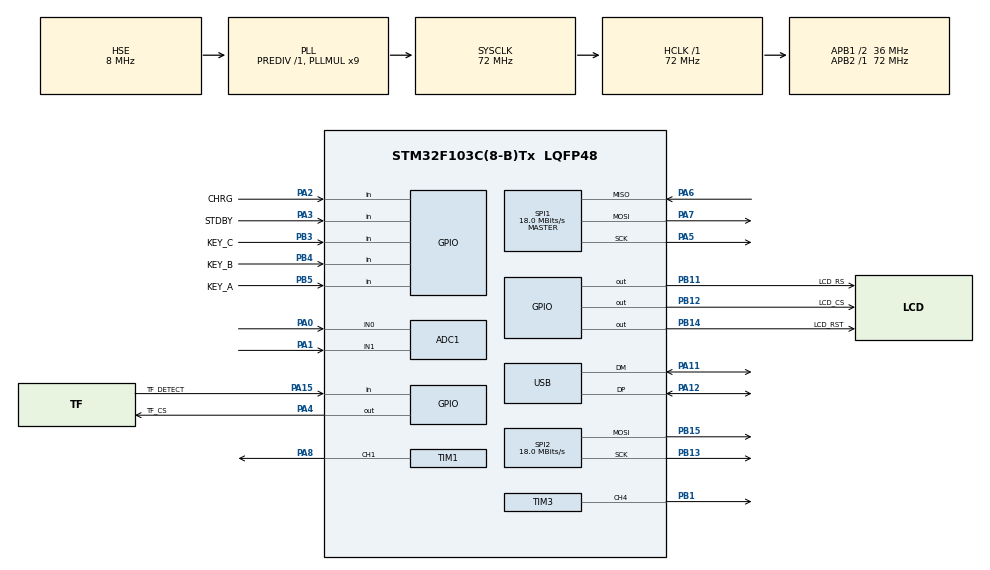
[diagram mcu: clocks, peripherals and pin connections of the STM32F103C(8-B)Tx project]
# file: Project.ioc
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ADC1.Channel-0\#ChannelRegularConversion=ADC_CHANNEL_0
ADC1.NbrOfConversion=1
ADC1.NbrOfConversionFlag=1
ADC1.Rank-0\#ChannelRegularConversion=1
ADC1.SamplingTime-0\#ChannelRegularConversion=ADC_SAMPLETIME_239CYCLES_5
ADC1.master=1
Mcu.Family=STM32F1
Mcu.Name=STM32F103C(8-B)Tx
Mcu.Package=LQFP48
NVIC.PriorityGroup=NVIC_PRIORITYGROUP_4
NVIC.TIM2_IRQn=true\:0\:0\:false\:false\:true\:true\:true\:true
NVIC.USB_LP_CAN1_RX0_IRQn=true\:0\:0\:false\:false\:true\:false\:true\:true
PA0-WKUP.Signal=ADCx_IN0
PA1.Signal=ADCx_IN1
PA11.Mode=Device
PA11.Signal=USB_DM
PA12.Mode=Device
PA12.Signal=USB_DP
PA13.Mode=Serial_Wire
PA13.Signal=SYS_JTMS-SWDIO
PA14.Mode=Serial_Wire
PA14.Signal=SYS_JTCK-SWCLK
PA15.GPIO_Label=TF_DETECT
PA15.GPIO_PuPd=GPIO_PULLUP
PA15.Signal=GPIO_Input
PA2.GPIO_Label=CHRG
PA2.GPIO_PuPd=GPIO_PULLUP
PA2.Signal=GPIO_Input
PA3.GPIO_Label=STDBY
PA3.GPIO_PuPd=GPIO_PULLUP
PA3.Signal=GPIO_Input
PA4.GPIO_Label=TF_CS
PA4.GPIO_ModeDefaultOutputPP=GPIO_MODE_OUTPUT_PP
PA4.GPIO_PuPd=GPIO_NOPULL
PA4.GPIO_Speed=GPIO_SPEED_FREQ_LOW
PA4.PinState=GPIO_PIN_SET
PA4.Signal=GPIO_Output
PA5.Mode=Full_Duplex_Master
PA5.Signal=SPI1_SCK
PA6.Mode=Full_Duplex_Master
PA6.Signal=SPI1_MISO
PA7.Mode=Full_Duplex_Master
PA7.Signal=SPI1_MOSI
PA8.Signal=S_TIM1_CH1
PB1.Signal=S_TIM3_CH4
PB11.GPIO_Label=LCD_RS
PB11.GPIO_ModeDefaultOutputPP=GPIO_MODE_OUTPUT_PP
PB11.GPIO_PuPd=GPIO_NOPULL
PB11.GPIO_Speed=GPIO_SPEED_FREQ_LOW
PB11.PinState=GPIO_PIN_SET
PB11.Signal=GPIO_Output
PB12.GPIO_Label=LCD_CS
PB12.GPIO_ModeDefaultOutputPP=GPIO_MODE_OUTPUT_PP
PB12.GPIO_PuPd=GPIO_NOPULL
PB12.GPIO_Speed=GPIO_SPEED_FREQ_LOW
PB12.PinState=GPIO_PIN_SET
PB12.Signal=GPIO_Output
PB13.Mode=TX_Only_Simplex_Unidirect_Master
PB13.Signal=SPI2_SCK
PB14.GPIO_Label=LCD_RST
PB14.GPIO_ModeDefaultOutputPP=GPIO_MODE_OUTPUT_PP
PB14.GPIO_PuPd=GPIO_NOPULL
PB14.GPIO_Speed=GPIO_SPEED_FREQ_LOW
PB14.PinState=GPIO_PIN_SET
PB14.Signal=GPIO_Output
PB15.Mode=TX_Only_Simplex_Unidirect_Master
PB15.Signal=SPI2_MOSI
PB3.GPIO_Label=KEY_C
PB3.GPIO_Mode=GPIO_MODE_INPUT
PB3.GPIO_PuPd=GPIO_PULLDOWN
PB3.Signal=GPIO_Input
PB4.GPIO_Label=KEY_B
PB4.GPIO_Mode=GPIO_MODE_INPUT
PB4.GPIO_PuPd=GPIO_PULLDOWN
PB4.Signal=GPIO_Input
PB5.GPIO_Label=KEY_A
PB5.GPIO_Mode=GPIO_MODE_INPUT
PB5.GPIO_PuPd=GPIO_PULLDOWN
PB5.Signal=GPIO_Input
PC14-OSC32_IN.Mode=LSE-External-Oscillator
PC14-OSC32_IN.Signal=RCC_OSC32_IN
PC15-OSC32_OUT.Mode=LSE-External-Oscillator
PC15-OSC32_OUT.Signal=RCC_OSC32_OUT
PD0-OSC_IN.Mode=HSE-External-Oscillator
PD0-OSC_IN.Signal=RCC_OSC_IN
PD1-OSC_OUT.Mode=HSE-External-Oscillator
PD1-OSC_OUT.Signal=RCC_OSC_OUT
ProjectManager.HeapSize=0x200
ProjectManager.StackSize=0x400
ProjectManager.TargetToolchain=MDK-ARM V5.32
RCC.ADCPresc=RCC_ADCPCLK2_DIV6
RCC.AHBFreq_Value=72000000
RCC.APB1CLKDivider=RCC_HCLK_DIV2
RCC.APB1Freq_Value=36000000
RCC.APB1TimFreq_Value=72000000
RCC.APB2Freq_Value=72000000
RCC.APB2TimFreq_Value=72000000
RCC.HCLKFreq_Value=72000000
RCC.PLLMUL=RCC_PLL_MUL9
RCC.PLLSourceVirtual=RCC_PLLSOURCE_HSE
RCC.RTCClockSelection=RCC_RTCCLKSOURCE_LSE
RCC.SYSCLKFreq_VALUE=72000000
RCC.SYSCLKSource=RCC_SYSCLKSOURCE_PLLCLK
RCC.USBFreq_Value=48000000
RCC.USBPrescaler=RCC_USBCLKSOURCE_PLL_DIV1_5
RTC.Format=RTC_FORMAT_BIN
RTC.Year=0
SH.ADCx_IN0.0=ADC1_IN0,IN0
SH.ADCx_IN1.0=ADC1_IN1,IN1
SH.S_TIM1_CH1.0=TIM1_CH1,PWM Generation1 CH1
SH.S_TIM3_CH4.0=TIM3_CH4,PWM Generation4 CH4
SPI1.BaudRatePrescaler=SPI_BAUDRATEPRESCALER_4
SPI1.CalculateBaudRate=18.0 MBits/s
SPI1.Direction=SPI_DIRECTION_2LINES
SPI1.Mode=SPI_MODE_MASTER
SPI1.VirtualType=VM_MASTER
SPI2.CLKPhase=SPI_PHASE_2EDGE
SPI2.CLKPolarity=SPI_POLARITY_HIGH
SPI2.CalculateBaudRate=18.0 MBits/s
SPI2.Direction=SPI_DIRECTION_2LINES
SPI2.Mode=SPI_MODE_MASTER
SPI2.VirtualType=VM_MASTER
TIM1.AutoReloadPreload=TIM_AUTORELOAD_PRELOAD_ENABLE
TIM1.Channel-PWM\ Generation1\ CH1=TIM_CHANNEL_1
TIM1.Period=999
TIM1.Prescaler=71
TIM2.AutoReloadPreload=TIM_AUTORELOAD_PRELOAD_ENABLE
TIM2.Period=1000-1
TIM2.Prescaler=72-1
TIM3.AutoReloadPreload=TIM_AUTORELOAD_PRELOAD_ENABLE
TIM3.Channel-PWM\ Generation4\ CH4=TIM_CHANNEL_4
TIM3.Period=3600
TIM3.Prescaler=0
TIM3.Pulse-PWM\ Generation4\ CH4=1800
USB_DEVICE.CLASS_NAME_FS=CDC
USB_DEVICE.VirtualMode=Cdc
USB_DEVICE.VirtualModeFS=Cdc_FS
VP_RTC_VS_RTC_Activate.Mode=RTC_Enabled
VP_RTC_VS_RTC_Calendar.Mode=RTC_Calendar
VP_TIM1_VS_ClockSourceINT.Mode=Internal
VP_TIM2_VS_ClockSourceINT.Mode=Internal
VP_TIM3_VS_ClockSourceINT.Mode=Internal
VP_USB_DEVICE_VS_USB_DEVICE_CDC_FS.Mode=CDC_FS
board=custom

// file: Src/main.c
/* USER CODE BEGIN Header */
/**
  ******************************************************************************
  * @file           : main.c
  * @brief          : Main program body
  ******************************************************************************
  * @attention
  *
  * Copyright (c) 2026 STMicroelectronics.
  * All rights reserved.
  *
  * This software is licensed under terms that can be found in the LICENSE file
  * in the root directory of this software component.
  * If no LICENSE file comes with this software, it is provided AS-IS.
  *
  ******************************************************************************
  */
/* USER CODE END Header */
#include "main.h"
#include "adc.h"
#include "rtc.h"
#include "spi.h"
#include "tim.h"
#include "usb_device.h"
#include "gpio.h"

/* USER CODE BEGIN Includes */
#include "ST7789V.h"
#include "Key.h"
#include "spi_sdcard.h"
#include "Buzzer.h"
#include "Power.h"
#include "kernel.h"

#include "shell.h"
#include "system.h"
/* USER CODE END Includes */

void SystemClock_Config(void);

int main(void)
{

  /* MCU Configuration--------------------------------------------------------*/

  /* Reset of all peripherals, Initializes the Flash interface and the Systick. */
  HAL_Init();

  /* Configure the system clock */
  SystemClock_Config();

  /* Initialize all configured peripherals */
  MX_GPIO_Init();
  MX_SPI1_Init();
  MX_SPI2_Init();
  MX_TIM1_Init();
  MX_ADC1_Init();
  MX_RTC_Init();
  MX_TIM2_Init();
  MX_TIM3_Init();
  MX_USB_DEVICE_Init();
  /* USER CODE BEGIN 2 */
  static char *argv[EXEC_MAX_ARGS + 1];
  static char *envp[EXEC_MAX_ENVS + 1];
  int argc;
  execve_load(&argc, argv, envp);

  Key_Init();
  Buzzer_Init();
  Power_Init();
  LCD_Init();

  LCD_Clear(0x0000);
  LCD_SetBrightness(1000);

  SYS_Init();
  Shell_Init();
  Shell_Run();
  /* USER CODE END 2 */
  /* Infinite loop */
  while (1)
  {

  }
}

void SystemClock_Config(void)
{
  RCC_OscInitTypeDef RCC_OscInitStruct = {0};
  RCC_ClkInitTypeDef RCC_ClkInitStruct = {0};
  RCC_PeriphCLKInitTypeDef PeriphClkInit = {0};

  /** Initializes the RCC Oscillators according to the specified parameters
  * in the RCC_OscInitTypeDef structure.
  */
  RCC_OscInitStruct.OscillatorType = RCC_OSCILLATORTYPE_HSE|RCC_OSCILLATORTYPE_LSE;
  RCC_OscInitStruct.HSEState = RCC_HSE_ON;
  RCC_OscInitStruct.HSEPredivValue = RCC_HSE_PREDIV_DIV1;
  RCC_OscInitStruct.LSEState = RCC_LSE_ON;
  RCC_OscInitStruct.HSIState = RCC_HSI_ON;
  RCC_OscInitStruct.PLL.PLLState = RCC_PLL_ON;
  RCC_OscInitStruct.PLL.PLLSource = RCC_PLLSOURCE_HSE;
  RCC_OscInitStruct.PLL.PLLMUL = RCC_PLL_MUL9;
  if (HAL_RCC_OscConfig(&RCC_OscInitStruct) != HAL_OK)
  {
    Error_Handler();
  }

  /** Initializes the CPU, AHB and APB buses clocks
  */
  RCC_ClkInitStruct.ClockType = RCC_CLOCKTYPE_HCLK|RCC_CLOCKTYPE_SYSCLK
                              |RCC_CLOCKTYPE_PCLK1|RCC_CLOCKTYPE_PCLK2;
  RCC_ClkInitStruct.SYSCLKSource = RCC_SYSCLKSOURCE_PLLCLK;
  RCC_ClkInitStruct.AHBCLKDivider = RCC_SYSCLK_DIV1;
  RCC_ClkInitStruct.APB1CLKDivider = RCC_HCLK_DIV2;
  RCC_ClkInitStruct.APB2CLKDivider = RCC_HCLK_DIV1;

  if (HAL_RCC_ClockConfig(&RCC_ClkInitStruct, FLASH_LATENCY_2) != HAL_OK)
  {
    Error_Handler();
  }
  PeriphClkInit.PeriphClockSelection = RCC_PERIPHCLK_RTC|RCC_PERIPHCLK_ADC
                              |RCC_PERIPHCLK_USB;
  PeriphClkInit.RTCClockSelection = RCC_RTCCLKSOURCE_LSE;
  PeriphClkInit.AdcClockSelection = RCC_ADCPCLK2_DIV6;
  PeriphClkInit.UsbClockSelection = RCC_USBCLKSOURCE_PLL_DIV1_5;
  if (HAL_RCCEx_PeriphCLKConfig(&PeriphClkInit) != HAL_OK)
  {
    Error_Handler();
  }
}

void Error_Handler(void)
{
  __disable_irq();
  while (1)
  {
  }
}
